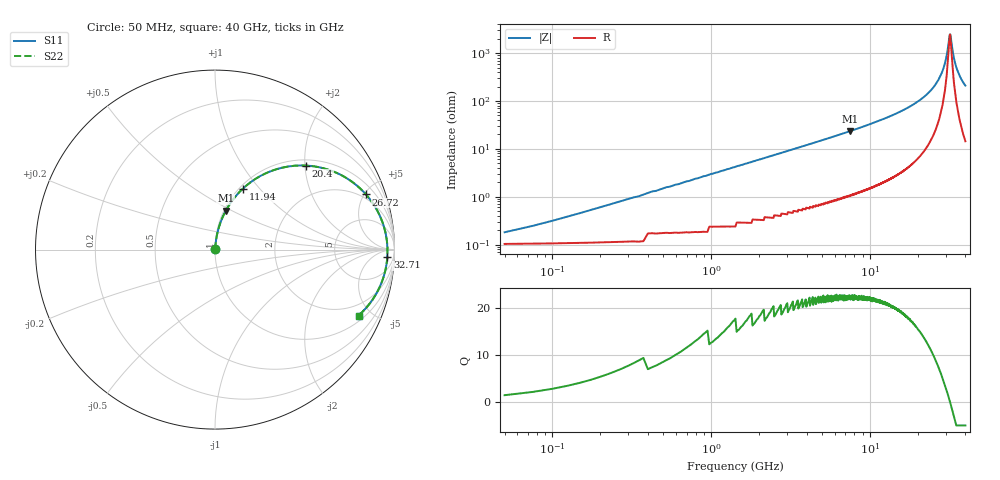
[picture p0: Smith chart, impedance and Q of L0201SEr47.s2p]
# MHZ S MA R 50
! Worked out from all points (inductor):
!   1601 points, 50 MHz to 40 GHz, reference 50 ohm
!   read as one part in series: L = 470 pH near 249.8 MHz
!   highest Q = 22.5 at 7.466 GHz (marker M1), where L = 497 pH
!   self-resonance near 32.01 GHz
!   S11 on the Smith chart (normalised r, x): 50 MHz: 1.00, +0.00; 11.94 GHz: 1.04, +0.82; 20.4 GHz: 1.13, +2.02; 26.72 GHz: 1.66, +5.12; 32.71 GHz: 23, -25; 40 GHz: 1.29, -4.19
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50  0.001814 54.3  0.999 -0.1  0.999 -0.1  0.001814 54.3
324.656  0.009672 81.3  0.999 -0.5  0.999 -0.5  0.009672 81.3
574.344  0.017 83.5  0.998 -1.0  0.998 -1.0  0.017 83.5
973.844  0.029 84.2  0.997 -1.6  0.997 -1.6  0.029 84.2
1548.125  0.046 83.9  0.996 -2.6  0.996 -2.6  0.046 83.9
3470.719  0.103 81.3  0.99 -5.9  0.99 -5.9  0.103 81.3
6716.656  0.202 75.8  0.97 -11.6  0.97 -11.6  0.202 75.8
7465.719  0.225 74.4  0.964 -13.0  0.964 -13.0  0.225 74.4
11935.12  0.373 65.4  0.91 -21.9  0.91 -21.9  0.373 65.4
13383.31  0.424 62.1  0.885 -25.1  0.885 -25.1  0.424 62.1
20025  0.675 43.9  0.695 -42.4  0.695 -42.4  0.675 43.9
20399.53  0.69 42.7  0.68 -43.5  0.68 -43.5  0.69 42.7
26691.66  0.895 20.2  0.348 -62.6  0.348 -62.6  0.895 20.2
26716.62  0.895 20.1  0.346 -62.7  0.346 -62.7  0.895 20.1
29712.88  0.947 8.6  0.155 -65.9  0.155 -65.9  0.947 8.6
31885.16  0.961 0.4  0.04 -10.7  0.04 -10.7  0.961 0.4
32234.72  0.961 -0.8  0.041 19.6  0.041 19.6  0.961 -0.8
32709.12  0.961 -2.5  0.058 46.6  0.058 46.6  0.961 -2.5
33358.31  0.959 -4.8  0.092 61.1  0.092 61.1  0.959 -4.8
34456.94  0.953 -8.5  0.153 67.8  0.153 67.8  0.953 -8.5
35905.12  0.939 -13.2  0.231 68.3  0.231 68.3  0.939 -13.2
40000  0.88 -24.7  0.419 61.4  0.419 61.4  0.88 -24.7
